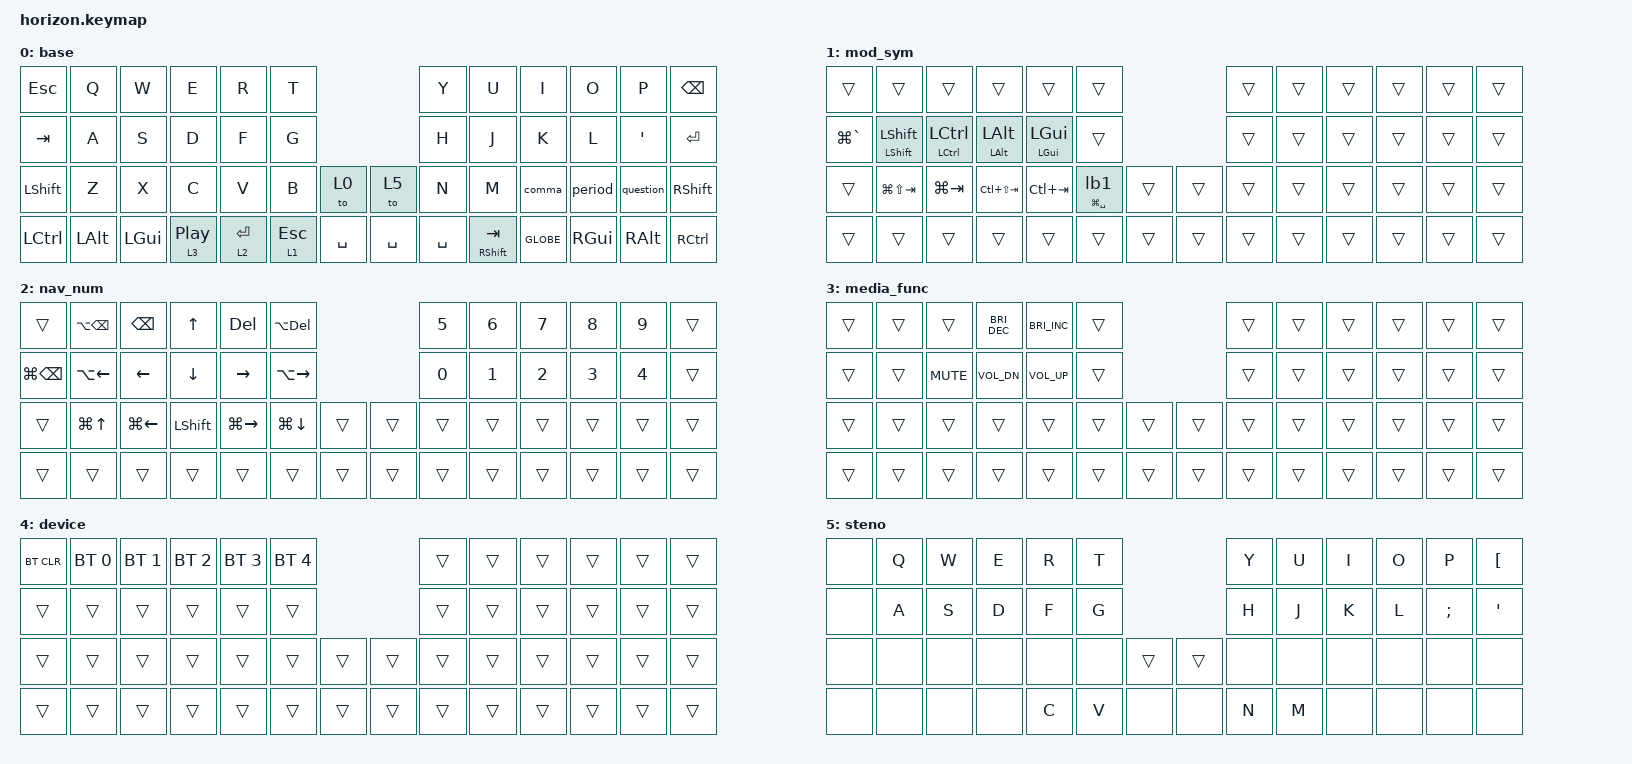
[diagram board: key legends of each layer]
/*
 * Copyright (c) 2021 The ZMK Contributors
 *
 * SPDX-License-Identifier: MIT
 */

#include <behaviors.dtsi>
#include <dt-bindings/zmk/bt.h>
#include <dt-bindings/zmk/keys.h>

#define DEF 0
#define SYM 1
#define FUN 2

&lt { flavor = "hold-preferred"; };

&sk {
    release-after-ms = <1200>;
    quick-release;
};

/ {
    macros {
        lb2: DTG {
            compatible = "zmk,behavior-macro";
            #binding-cells = <0>;
            bindings = <&kp LEFT_GUI &kp LEFT_GUI>;
            label = "DTG";
        };

        lb1: gs {
            compatible = "zmk,behavior-macro";
            #binding-cells = <0>;
            bindings = <&kp LG(SPACE)>;
            label = "GS";
        };
    };

    behaviors {
        comma: comma {
            compatible = "zmk,behavior-mod-morph";
            label = "COMMA";
            bindings = <&kp COMMA>, <&kp SEMICOLON>;

            #binding-cells = <0>;
            mods = <(MOD_LSFT|MOD_RSFT)>;
            keep-mods = <(MOD_LSFT|MOD_RSFT)>;
        };

        period: period {
            compatible = "zmk,behavior-mod-morph";
            label = "PERIOD";
            bindings = <&kp PERIOD>, <&kp COLON>;

            #binding-cells = <0>;
            mods = <(MOD_LSFT|MOD_RSFT)>;
            keep-mods = <(MOD_LSFT|MOD_RSFT)>;
        };

        question: question {
            compatible = "zmk,behavior-mod-morph";
            label = "QUESTION";
            bindings = <&kp QUESTION>, <&kp EXCLAMATION>;

            #binding-cells = <0>;
            mods = <(MOD_LSFT|MOD_RSFT)>;
            keep-mods = <(MOD_LSFT|MOD_RSFT)>;
        };

        LB: LB {
            compatible = "zmk,behavior-hold-tap";
            label = "LB";
            bindings = <&lb2>, <&lb1>;

            #binding-cells = <2>;
            tapping-term-ms = <170>;
        };

        sh: sh {
            compatible = "zmk,behavior-hold-tap";
            label = "SH";
            bindings = <&kp>, <&sk>;

            #binding-cells = <2>;
            tapping-term-ms = <180>;
            flavor = "tap-preferred";
            hold-while-undecided;
            hold-while-undecided-linger;
        };
    };

    combos {
        compatible = "zmk,combos";

        off {
            bindings = <&soft_off>;
            key-positions = <45 44 30 31>;
        };
    };

    keymap {
        compatible = "zmk,keymap";

        base {
            bindings = <
&kp ESC    &kp Q     &kp W     &kp E               &kp R        &kp T                               &kp Y      &kp U                &kp I      &kp O     &kp P      &kp BSPC
&kp TAB    &kp A     &kp S     &kp D               &kp F        &kp G                               &kp H      &kp J                &kp K      &kp L     &kp SQT    &kp ENTER
&kp LSHFT  &kp Z     &kp X     &kp C               &kp V        &kp B         &to 0      &to 5      &kp N      &kp M                &comma     &period   &question  &kp RSHFT
&kp LCTRL  &kp LALT  &kp LGUI  &lt 3 C_PLAY_PAUSE  &lt 2 ENTER  &lt 1 ESCAPE  &kp SPACE  &kp SPACE  &kp SPACE  &mt RIGHT_SHIFT TAB  &kp GLOBE  &kp RGUI  &kp RALT   &kp RCTRL
            >;
        };

        mod_sym {
            bindings = <
&trans         &trans                     &trans                         &trans                 &trans                 &trans                           &trans  &trans  &trans  &trans  &trans  &trans
&kp LG(GRAVE)  &sh LEFT_SHIFT LEFT_SHIFT  &sh LEFT_CONTROL LEFT_CONTROL  &sh LEFT_ALT LEFT_ALT  &sh LEFT_GUI LEFT_GUI  &trans                           &trans  &trans  &trans  &trans  &trans  &trans
&trans         &kp LG(LS(TAB))            &kp LG(TAB)                    &kp LC(LS(TAB))        &kp LC(TAB)            &LB LG(SPACE) 0  &trans  &trans  &trans  &trans  &trans  &trans  &trans  &trans
&trans         &trans                     &trans                         &trans                 &trans                 &trans           &trans  &trans  &trans  &trans  &trans  &trans  &trans  &trans
            >;
        };

        nav_num {
            bindings = <
&trans             &kp LA(BSPC)  &kp BSPC      &kp UP     &kp DEL        &kp LA(DEL)                    &kp N5  &kp N6  &kp N7  &kp N8  &kp N9  &trans
&kp LG(BACKSPACE)  &kp LA(LEFT)  &kp LEFT      &kp DOWN   &kp RIGHT      &kp LA(RIGHT)                  &kp N0  &kp N1  &kp N2  &kp N3  &kp N4  &trans
&trans             &kp LG(UP)    &kp LG(LEFT)  &kp LSHFT  &kp LG(RIGHT)  &kp LG(DOWN)   &trans  &trans  &trans  &trans  &trans  &trans  &trans  &trans
&trans             &trans        &trans        &trans     &trans         &trans         &trans  &trans  &trans  &trans  &trans  &trans  &trans  &trans
            >;
        };

        media_func {
            bindings = <
&trans  &trans  &trans      &kp C_BRIGHTNESS_DEC  &kp C_BRIGHTNESS_INC  &trans                  &trans  &trans  &trans  &trans  &trans  &trans
&trans  &trans  &kp C_MUTE  &kp C_VOL_DN          &kp C_VOLUME_UP       &trans                  &trans  &trans  &trans  &trans  &trans  &trans
&trans  &trans  &trans      &trans                &trans                &trans  &trans  &trans  &trans  &trans  &trans  &trans  &trans  &trans
&trans  &trans  &trans      &trans                &trans                &trans  &trans  &trans  &trans  &trans  &trans  &trans  &trans  &trans
            >;
        };

        device {
            bindings = <
&bt BT_CLR  &bt BT_SEL 0  &bt BT_SEL 1  &bt BT_SEL 2  &bt BT_SEL 3  &bt BT_SEL 4                  &trans  &trans  &trans  &trans  &trans  &trans
&trans      &trans        &trans        &trans        &trans        &trans                        &trans  &trans  &trans  &trans  &trans  &trans
&trans      &trans        &trans        &trans        &trans        &trans        &trans  &trans  &trans  &trans  &trans  &trans  &trans  &trans
&trans      &trans        &trans        &trans        &trans        &trans        &trans  &trans  &trans  &trans  &trans  &trans  &trans  &trans
            >;
        };

        steno {
            bindings = <
&none  &kp Q  &kp W  &kp E  &kp R  &kp T                  &kp Y  &kp U  &kp I  &kp O  &kp P     &kp LBKT
&none  &kp A  &kp S  &kp D  &kp F  &kp G                  &kp H  &kp J  &kp K  &kp L  &kp SEMI  &kp APOS
&none  &none  &none  &none  &none  &none  &trans  &trans  &none  &none  &none  &none  &none     &none
&none  &none  &none  &none  &kp C  &kp V  &none   &none   &kp N  &kp M  &none  &none  &none     &none
            >;
        };
    };

    conditional_layers {
        compatible = "zmk,conditional-layers";

        device {
            if-layers = <1 2 3>;
            then-layer = <4>;
        };
    };
};
